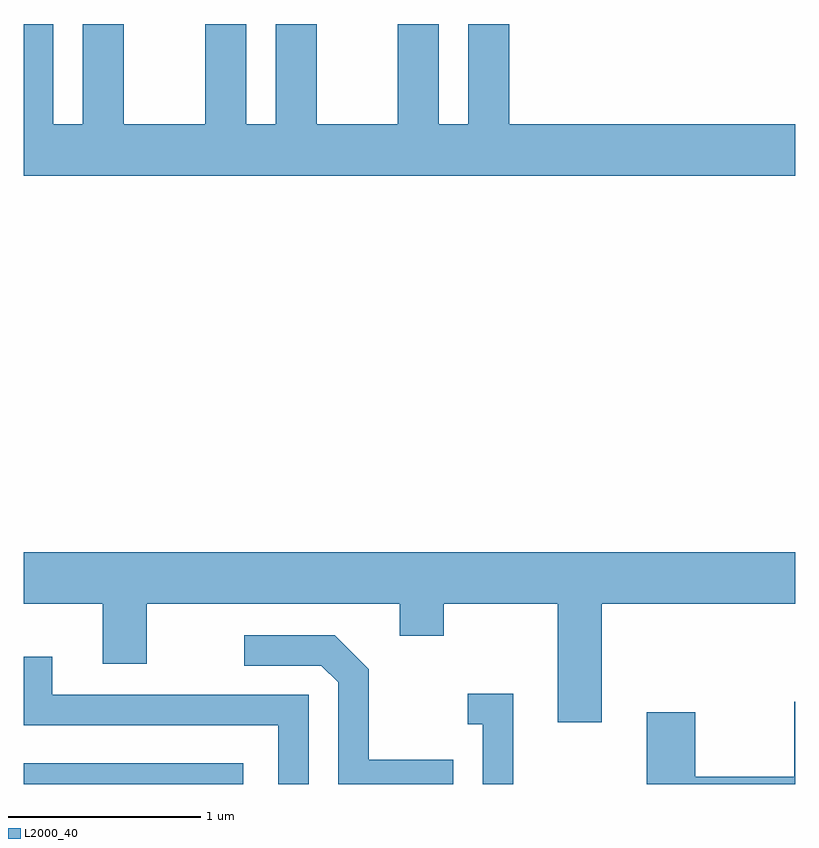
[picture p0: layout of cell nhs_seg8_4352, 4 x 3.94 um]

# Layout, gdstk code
import gdstk
lib = gdstk.Library(unit=1e-6, precision=1e-09)
def R(c, l, rs):  # rectangles x0, y0, x1, y1
    for r in rs: c.add(gdstk.rectangle(r[:2], r[2:], *l))
def P(c, l, *ps):  # polygons
    for p in ps: c.add(gdstk.Polygon(p, *l))
L2000_40 = (2000, 40)

nhs_seg8_4352 = lib.new_cell('nhs_seg8_4352')
R(nhs_seg8_4352, L2000_40, [(315.611,1864.342,316.749,1864.449)])
P(nhs_seg8_4352, L2000_40, [(319.611,1867.764),(318.129,1867.764),(318.129,1868.284),(317.916,1868.284),(317.916,1867.764),(317.764,1867.764),(317.764,1868.284),(317.551,1868.284),(317.551,1867.764),(317.129,1867.764),(317.129,1868.284),(316.916,1868.284),(316.916,1867.764),(316.764,1867.764),(316.764,1868.284),(316.551,1868.284),(316.551,1867.764),(316.129,1867.764),(316.129,1868.284),(315.916,1868.284),(315.916,1867.764),(315.764,1867.764),(315.764,1868.284),(315.611,1868.284),(315.611,1867.496),(319.611,1867.496)],
  [(318.609,1865.276),(319.611,1865.276),(319.611,1865.544),(315.611,1865.544),(315.611,1865.276),(316.021,1865.276),(316.021,1864.966),(316.249,1864.966),(316.249,1865.276),(317.561,1865.276),(317.561,1865.111),(317.789,1865.111),(317.789,1865.276),(318.381,1865.276),(318.381,1864.661),(318.609,1864.661)],
  [(317.839,1864.469),(317.399,1864.469),(317.399,1864.937),(317.222,1865.114),(316.753,1865.114),(316.753,1864.956),(317.154,1864.956),(317.241,1864.869),(317.241,1864.342),(317.839,1864.342)],
  [(317.089,1864.804),(315.759,1864.804),(315.759,1865.003),(315.611,1865.003),(315.611,1864.646),(316.931,1864.646),(316.931,1864.342),(317.089,1864.342)],
  [(318.149,1864.809),(317.913,1864.809),(317.913,1864.651),(317.991,1864.651),(317.991,1864.342),(318.149,1864.342)],
  [(319.611,1864.769),(319.606,1864.769),(319.606,1864.379),(319.094,1864.379),(319.094,1864.714),(318.841,1864.714),(318.841,1864.342),(319.611,1864.342)])

lib.write_gds('nhs_seg8_4352.gds')
